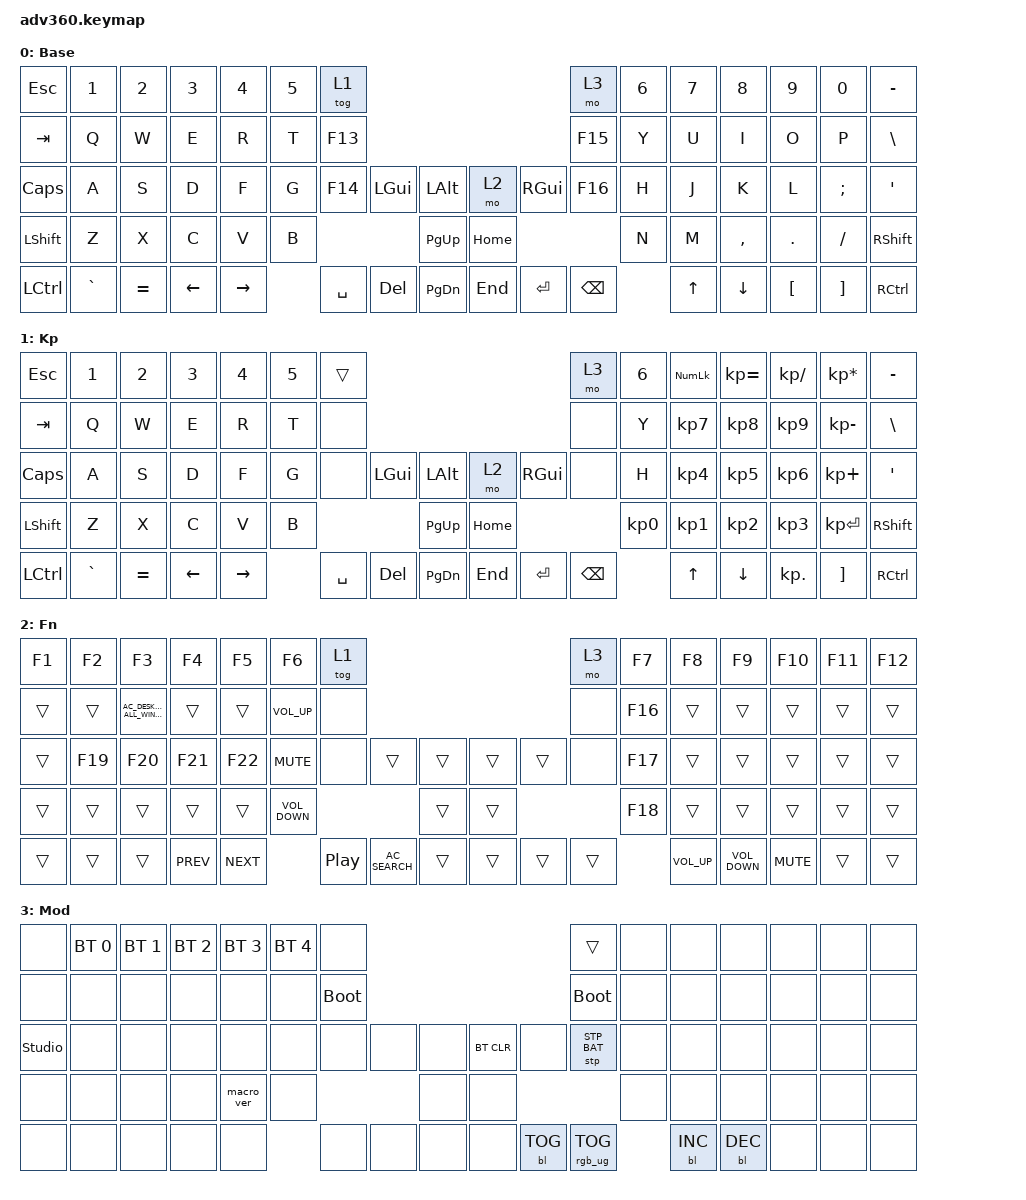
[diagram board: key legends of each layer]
#include <dt-bindings/zmk/stp.h>
#include <behaviors.dtsi>
#include <dt-bindings/zmk/backlight.h>
#include <dt-bindings/zmk/bt.h>
#include <dt-bindings/zmk/keys.h>
#include <dt-bindings/zmk/rgb.h>

/ {
    behaviors {
        #include "macros.dtsi"
      #include "version.dtsi"

        hm: homerow_mods {
            compatible = "zmk,behavior-hold-tap";
            label = "HOMEROW_MODS";
            #binding-cells = <2>;
            tapping-term-ms = <200>;
            quick_tap_ms = <175>;
            flavor = "tap-preferred";
            bindings = <&kp>, <&kp>;
        };
    };

    keymap {
        compatible = "zmk,keymap";

        default_layer {
            display-name = "Base";
            bindings = <
&kp ESC       &kp N1     &kp N2     &kp N3    &kp N4     &kp N5  &tog 1                                                   &mo 3          &kp N6  &kp N7  &kp N8     &kp N9    &kp N0    &kp MINUS
&kp TAB       &kp Q      &kp W      &kp E     &kp R      &kp T   &kp F13                                                  &kp F15        &kp Y   &kp U   &kp I      &kp O     &kp P     &kp BSLH
&kp CAPSLOCK  &kp A      &kp S      &kp D     &kp F      &kp G   &kp F14    &kp LGUI  &kp LALT       &mo 2     &kp RGUI   &kp F16        &kp H   &kp J   &kp K      &kp L     &kp SEMI  &kp SQT
&kp LSHFT     &kp Z      &kp X      &kp C     &kp V      &kp B                        &kp PG_UP      &kp HOME                            &kp N   &kp M   &kp COMMA  &kp DOT   &kp FSLH  &kp RSHFT
&kp LCTRL     &kp GRAVE  &kp EQUAL  &kp LEFT  &kp RIGHT          &kp SPACE  &kp DEL   &kp PG_DN      &kp END   &kp ENTER  &kp BACKSPACE          &kp UP  &kp DOWN   &kp LBKT  &kp RBKT  &kp RCTRL
            >;
        };

        keypad {
            display-name = "Kp";
            bindings = <
&kp ESC       &kp N1     &kp N2     &kp N3    &kp N4     &kp N5  &trans                                                       &mo 3          &kp N6     &kp KP_NUM  &kp KP_EQUAL  &kp KP_DIVIDE  &kp KP_MULTIPLY  &kp MINUS
&kp TAB       &kp Q      &kp W      &kp E     &kp R      &kp T   &none                                                        &none          &kp Y      &kp KP_N7   &kp KP_N8     &kp KP_N9      &kp KP_MINUS     &kp BSLH
&kp CAPSLOCK  &kp A      &kp S      &kp D     &kp F      &kp G   &none      &kp LGUI  &kp LALT           &mo 2     &kp RGUI   &none          &kp H      &kp KP_N4   &kp KP_N5     &kp KP_N6      &kp KP_PLUS      &kp SQT
&kp LSHFT     &kp Z      &kp X      &kp C     &kp V      &kp B                        &kp PG_UP          &kp HOME                            &kp KP_N0  &kp KP_N1   &kp KP_N2     &kp KP_N3      &kp KP_ENTER     &kp RSHFT
&kp LCTRL     &kp GRAVE  &kp EQUAL  &kp LEFT  &kp RIGHT          &kp SPACE  &kp DEL   &kp PAGE_DOWN      &kp END   &kp ENTER  &kp BACKSPACE             &kp UP      &kp DOWN      &kp KP_DOT     &kp RBKT         &kp RCTRL
            >;
        };

        fn {
            display-name = "Fn";
            bindings = <
&kp F1  &kp F2   &kp F3                             &kp F4      &kp F5      &kp F6             &tog 1                                                 &mo 3   &kp F7   &kp F8           &kp F9             &kp F10     &kp F11  &kp F12
&trans  &trans   &kp C_AC_DESKTOP_SHOW_ALL_WINDOWS  &trans      &trans      &kp C_VOLUME_UP    &none                                                  &none   &kp F16  &trans           &trans             &trans      &trans   &trans
&trans  &kp F19  &kp F20                            &kp F21     &kp F22     &kp K_MUTE         &none     &trans           &trans      &trans  &trans  &none   &kp F17  &trans           &trans             &trans      &trans   &trans
&trans  &trans   &trans                             &trans      &trans      &kp C_VOLUME_DOWN                             &trans      &trans                  &kp F18  &trans           &trans             &trans      &trans   &trans
&trans  &trans   &trans                             &kp C_PREV  &kp C_NEXT                     &kp C_PP  &kp C_AC_SEARCH  &trans      &trans  &trans  &trans           &kp C_VOLUME_UP  &kp C_VOLUME_DOWN  &kp C_MUTE  &trans   &trans
            >;
        };

        mod {
            display-name = "Mod";
            bindings = <
&none           &bt BT_SEL 0  &bt BT_SEL 1  &bt BT_SEL 2  &bt BT_SEL 3  &bt BT_SEL 4  &none                                                  &trans           &none  &none       &none       &none  &none  &none
&none           &none         &none         &none         &none         &none         &bootloader                                            &bootloader      &none  &none       &none       &none  &none  &none
&studio_unlock  &none         &none         &none         &none         &none         &none        &none  &none      &bt BT_CLR  &none       &stp STP_BAT     &none  &none       &none       &none  &none  &none
&none           &none         &none         &none         &macro_ver    &none                             &none      &none                                    &none  &none       &none       &none  &none  &none
&none           &none         &none         &none         &none                       &none        &none  &none      &none       &bl BL_TOG  &rgb_ug RGB_TOG         &bl BL_INC  &bl BL_DEC  &none  &none  &none
            >;
        };

        extra1 {
            display-name = "Red";
            status = "reserved";
        };

        extra2 {
            display-name = "Purple";
            status = "reserved";
        };

        extra3 {
            display-name = "Cyan";
            status = "reserved";
        };

        extra4 {
            display-name = "Yellow";
            status = "reserved";
        };
    };
};
